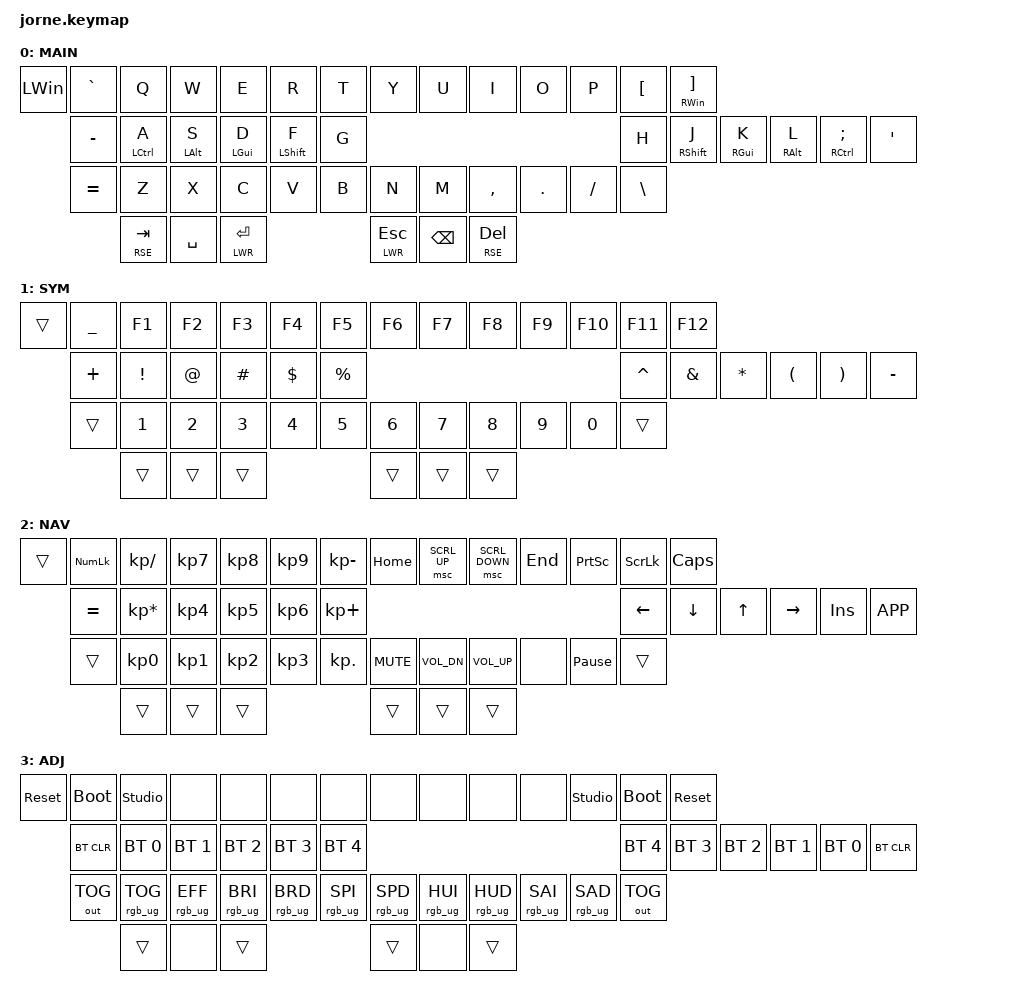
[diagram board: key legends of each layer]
/*
 * Copyright (c) 2020 The ZMK Contributors
 *
 * SPDX-License-Identifier: MIT
 */

#include <behaviors.dtsi>
#include <dt-bindings/zmk/keys.h>
#include <dt-bindings/zmk/bt.h>
#include <dt-bindings/zmk/outputs.h>
#include <dt-bindings/zmk/rgb.h>
#include <dt-bindings/zmk/pointing.h>

&led_strip { chain-length = <28>; };

#define DEF 0
#define LWR 1
#define RSE 2
#define ADJ 3

&lt {
    tapping-term-ms = <200>;
    quick-tap-ms = <175>;
    flavor = "balanced";
};

/ {
    behaviors {
        hml: homerow_mods_left {
            compatible = "zmk,behavior-hold-tap";
            #binding-cells = <2>;
            tapping-term-ms = <280>;
            quick-tap-ms = <175>;
            require-prior-idle-ms = <150>;
            flavor = "balanced";
            bindings = <&kp>, <&kp>;
            hold-trigger-key-positions = <7 8 9 10 11 12 13 20 21 22 23 24 25 32 33 34 35 36 37 41 42 43>;
            hold-trigger-on-release;
        };

        hmr: homerow_mods_right {
            compatible = "zmk,behavior-hold-tap";
            #binding-cells = <2>;
            tapping-term-ms = <280>;
            quick-tap-ms = <175>;
            require-prior-idle-ms = <150>;
            flavor = "balanced";
            bindings = <&kp>, <&kp>;
            hold-trigger-key-positions = <0 1 2 3 4 5 6 14 15 16 17 18 19 26 27 28 29 30 31 38 39 40>;
            hold-trigger-on-release;
        };
    };

    combos {
        compatible = "zmk,combos";
        combo_lmb_jk {
            timeout-ms = <30>;
            key-positions = <21 22>;
            bindings = <&mkp LCLK>;
            layers = <DEF>;
        };
        combo_rmb_jk {
            timeout-ms = <30>;
            key-positions = <21 22>;
            bindings = <&mkp RCLK>;
            layers = <RSE>;
        };
        combo_mmb_jk {
            timeout-ms = <30>;
            key-positions = <21 22>;
            bindings = <&mkp MCLK>;
            layers = <LWR>;
        };
    };

    conditional_layers {
        compatible = "zmk,conditional-layers";
        tri_layer {
            if-layers = <LWR RSE>;
            then-layer = <ADJ>;
        };
    };

        keymap {
                compatible = "zmk,keymap";

                default_layer {
                        display-name = "MAIN";
// -----------------------------------------------------------------------------------------
// | GUI |   ~  |  Q  |  W  |  E  |  R  |  T  |   |  Y  |  U   |  I  |  O  |  P  |  [   | GUI/] |
//       |   -  |  A  |  S  |  D  |  F  |  G  |   |  H  |  J   |  K  |  L  |  ;  |  '   |
//       |   =  |  Z  |  X  |  C  |  V  |  B  |   |  N  |  M   |  ,  |  .  |  /  |  \   |
//                          | RSE/TAB | SPC | LWR/RET |   | LWR/ESC | BSPC | RSE/DEL |
//       Home row mods (macOS): Ctrl-Opt-Cmd-Shft | Shft-Cmd-Opt-Ctrl
                        bindings = <
   &kp LWIN &kp GRAVE &kp Q &kp W &kp E &kp R &kp T         &kp Y         &kp U  &kp I     &kp O   &kp P    &kp LBKT &mt RWIN RBKT
            &kp MINUS &hml LCTRL A &hml LALT S &hml LGUI D &hml LSHFT F &kp G         &kp H         &hmr RSHFT J &hmr RGUI K &hmr RALT L &hmr RCTRL SEMI &kp SQT
            &kp EQUAL &kp Z &kp X &kp C &kp V &kp B         &kp N         &kp M  &kp COMMA &kp DOT &kp FSLH &kp BSLH
                  &lt RSE TAB &kp SPACE &lt LWR RET         &lt LWR ESC &kp BSPC &lt RSE DEL
                        >;
                };
                lower_layer {
                        display-name = "SYM";
// -----------------------------------------------------------------------------------------
// |     |  _  |  F1 |  F2 |  F3 |  F4 |  F5 |   |  F6 |  F7 |  F8 |  F9 | F10 | F11 | F12 |
//       |  +  |  !  |  @  |  #  |  $  |  %  |   |  ^  |  &  |  *  |  (  |  )  |  -  |
//       |     |  1  |  2  |  3  |  4  |  5  |   |  6  |  7  |  8  |  9  |  0  |     |
//                         |     |     |     |   |     |     |     |
                        bindings = <
   &trans &kp UNDER &kp F1   &kp F2 &kp F3   &kp F4   &kp F5           &kp F6    &kp F7   &kp F8   &kp F9   &kp F10  &kp F11 &kp F12
          &kp PLUS  &kp EXCL &kp AT &kp HASH &kp DLLR &kp PRCNT        &kp CARET &kp AMPS &kp STAR &kp LPAR &kp RPAR &kp MINUS
          &trans    &kp N1   &kp N2 &kp N3   &kp N4   &kp N5           &kp N6    &kp N7   &kp N8   &kp N9   &kp N0   &trans
                                                &trans &trans &trans        &trans &trans &trans
                        >;
                };

                raise_layer {
                        display-name = "NAV";
// -----------------------------------------------------------------------------------------
// |     | NMLK |  /  |  7  |  8  |  9  |  -  |   | HOME|SCRL↑|SCRL↓| END | PRSC| SLCK| CAPS|
//       |   =  |  *  |  4  |  5  |  6  |  +  |   | LEFT| DOWN|  UP | RGHT| INS | APP |
//       |      |  0  |  1  |  2  |  3  |  .  |   | MUTE| VOLD| VOLU|     | PAUS|     |
//                          |     |     |     |   |     |     |     |
                        bindings = <
   &trans &kp KP_NUM &kp KP_SLASH    &kp KP_N7 &kp KP_N8 &kp KP_N9 &kp KP_MINUS        &kp HOME   &msc SCRL_UP &msc SCRL_DOWN &kp END   &kp PSCRN       &kp SLCK &kp CAPS
          &kp EQUAL  &kp KP_MULTIPLY &kp KP_N4 &kp KP_N5 &kp KP_N6 &kp KP_PLUS         &kp LEFT   &kp DOWN     &kp UP       &kp RIGHT &kp INS         &kp K_APP
          &trans     &kp KP_N0       &kp KP_N1 &kp KP_N2 &kp KP_N3 &kp KP_DOT          &kp C_MUTE &kp C_VOL_DN &kp C_VOL_UP &none     &kp PAUSE_BREAK &trans
                                                                &trans &trans &trans        &trans &trans &trans
                        >;
                };
                adjust_layer {
                        display-name = "ADJ";
// -----------------------------------------------------------------------------------------
// | RST | BLDR | STU |     |     |     |     |   |     |     |     |     | STU | BLDR | RST |
//       | BTCLR| BT0 | BT1 | BT2 | BT3 | BT4 |   | BT4 | BT3 | BT2 | BT1 | BT0 | BTCLR|
//       | OUT  |     |     |     |     |     |   |     |     |     |     |     | OUT  |
//                          |     |     |     |   |     |     |     |
                        bindings = <
   &sys_reset &bootloader  &studio_unlock &none        &none        &none        &none              &none        &none        &none        &none        &studio_unlock &bootloader &sys_reset
              &bt BT_CLR   &bt BT_SEL 0   &bt BT_SEL 1 &bt BT_SEL 2 &bt BT_SEL 3 &bt BT_SEL 4       &bt BT_SEL 4 &bt BT_SEL 3 &bt BT_SEL 2 &bt BT_SEL 1 &bt BT_SEL 0   &bt BT_CLR
              &out OUT_TOG &rgb_ug RGB_TOG &rgb_ug RGB_EFF &rgb_ug RGB_BRI &rgb_ug RGB_BRD &rgb_ug RGB_SPI    &rgb_ug RGB_SPD &rgb_ug RGB_HUI &rgb_ug RGB_HUD &rgb_ug RGB_SAI &rgb_ug RGB_SAD &out OUT_TOG
                                                                          &trans &none &trans       &trans &none &trans
                        >;
                };
        };
};
